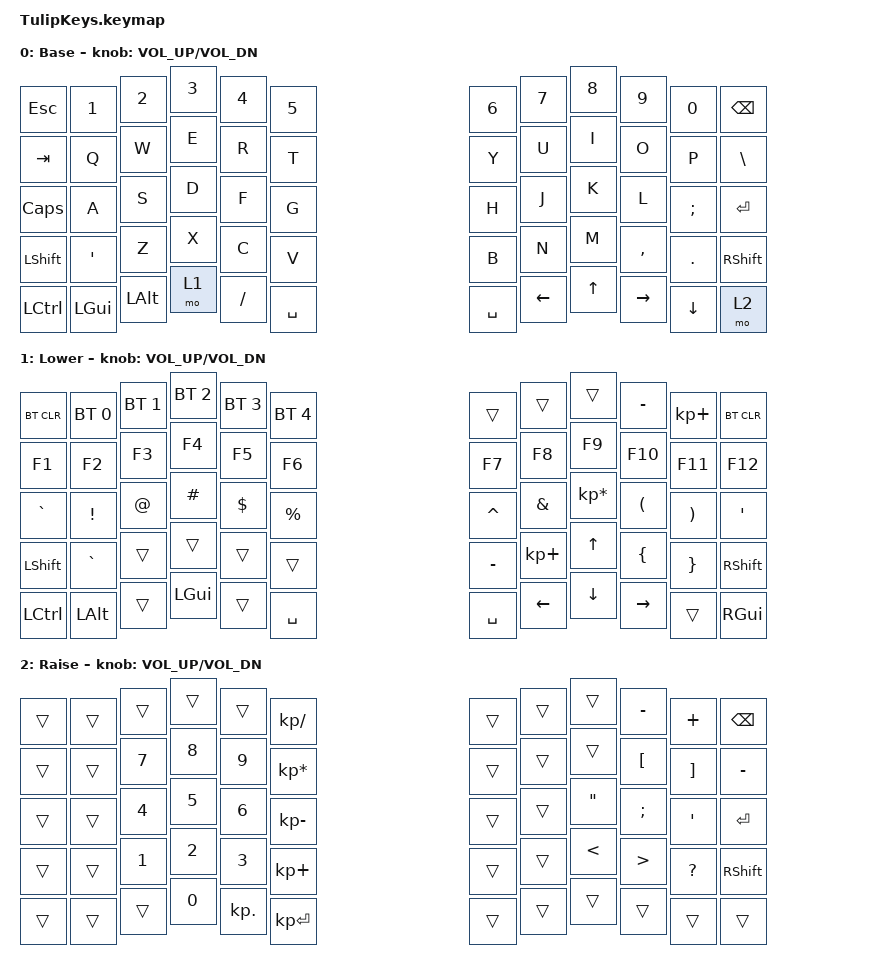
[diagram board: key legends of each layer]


#include <behaviors.dtsi>
#include <dt-bindings/zmk/keys.h>
#include <dt-bindings/zmk/bt.h>
#include <dt-bindings/zmk/ext_power.h>
#include <dt-bindings/zmk/outputs.h>

/ {
    keymap {
        compatible = "zmk,keymap";

        default_layer {
// ------------------------------------------------------------------------------------------------------------
// |  ESC  |  1  |  2   |  3   |  4   |  5   |                           |  6   |  7    |  8    |   9   |   0   |  BSPC |
// |  TAB  |  Q  |  W   |  E   |  R   |  T   |                           |  Y   |  U    |  I    |   O   |   P   |   \   |
// |  CAPS |  A  |  S   |  D   |  F   |  G   |                           |  H   |  J    |  K    |   L   |  ;    |  ENT  |   
// | SHIFT |  '  |  Z   |  X   |  C   |  V   |                           |  B   |  N    |  M    |   ,   |  .    | SHIFT |
// | CTRL  | GUI | LALT | L1   |  /   | SPC  |                           | SPC  | LARW  |  UARW | RARW  | DARW  | L2    |

            display-name = "Base";
            bindings = <
&kp ESC   &kp N1    &kp N2    &kp N3     &kp N4     &kp N5              &kp N6     &kp N7   &kp N8     &kp N9    &kp N0     &kp BSPC
&kp TAB   &kp Q     &kp W     &kp E      &kp R      &kp T               &kp Y      &kp U    &kp I      &kp O     &kp P      &kp BSLH
&kp CAPS  &kp A     &kp S     &kp D      &kp F      &kp G               &kp H      &kp J    &kp K      &kp L     &kp SEMI   &kp ENTER
&kp LSHFT &kp SQT   &kp Z     &kp X      &kp C      &kp V               &kp B      &kp N    &kp M      &kp COMMA &kp DOT    &kp RSHFT
&kp LCTRL &kp LGUI  &kp LALT  &mo 1      &kp FSLH   &kp SPACE           &kp SPACE  &kp LEFT &kp UP     &kp RIGHT &kp DOWN   &mo 2
            >; 

            sensor-bindings = <&inc_dec_kp C_VOL_UP C_VOL_DN>;
        };

        lower_layer {
// ------------------------------------------------------------------------------------------------------------
// | BTCLR | BT1 | BT2 |  BT3 |  BT4 |  BT5 |                   | prv  | USB   |  BLE  |  -   |   =   | BTCLR |
// |  F1   |  F2 |  F3 |  F4  |  F5  |  F6  |                   |  F7  |  F8   |  F9   |  F10 |  F11  |  F12  |
// |   `   |  !  |  @  |  #   | DOLL |  %   |                   |  ^   |  &    |  *    |  (   |   )   |   '   |
// | LSHFT |  `  |     |      |      |      |                   |  -   |   +   | UARW  |  {   |   }   | RSHFT |
// | CTRL  | GUI |(LYR)|  ALT |      | SPC  |                   |  SPC | LARW  | DARW  | RARW |       |  L2 |       
            display-name = "Lower";
            bindings = <
&bt BT_CLR &bt BT_SEL 0 &bt BT_SEL 1 &bt BT_SEL 2 &bt BT_SEL 3 &bt BT_SEL 4                 &trans   &trans    &trans    &kp MINUS  &kp KP_PLUS  &bt BT_CLR
&kp F1     &kp F2       &kp F3       &kp F4       &kp F5       &kp F6                       &kp F7       &kp F8       &kp F9          &kp F10    &kp F11   &kp F12
&kp GRAVE  &kp EXCL     &kp AT       &kp HASH     &kp DOLLAR   &kp PRCNT                    &kp CARET    &kp AMPS     &kp KP_MULTIPLY &kp LPAR   &kp RPAR  &kp SQT
&kp LSHFT  &kp GRAVE    &trans       &trans       &trans       &trans                       &kp MINUS    &kp KP_PLUS  &kp UP          &kp LBRC   &kp RBRC  &kp RSHFT
&kp LCTRL  &kp LALT     &trans       &kp LGUI     &trans       &kp SPACE                    &kp SPACE    &kp LEFT     &kp DOWN        &kp RIGHT  &trans    &kp RGUI
            >;

            sensor-bindings = <&inc_dec_kp C_VOL_UP C_VOL_DN>;
        };

        raise_layer {
// ------------------------------------------------------------------------------------------------------------
// |       |     |     |      |      |   /  |                   |      |       |        |  -   |   +  |  BSPC  |
// |       |     |  7  |  8   |  9   |   *  |                   |      |       |        |  [   |   ]  |   -    |
// |       |     |  4  |  5   |  6   |   -  |                   |      |       |   "    |  ;   |  '   |  ENT   |
// |       |     |  1  |  2   |  3   |   +  |                   |      |       |   <    |  >   |   ?  |  RSHFT |
// |       |     |     |  0   |  .   |   =  |                   |      |       |        |      |      |        |
                display-name = "Raise";
            bindings = <
&trans  &trans &trans    &trans     &trans     &kp KP_DIVIDE             &trans      &trans      &trans      &kp MINUS   &kp PLUS    &kp BSPC
&trans  &trans &kp N7    &kp N8     &kp N9     &kp KP_MULTIPLY           &trans      &trans      &trans      &kp LBKT    &kp RBKT    &kp MINUS
&trans  &trans &kp N4    &kp N5     &kp N6     &kp KP_MINUS              &trans      &trans      &kp DQT     &kp SEMI    &kp SQT     &kp ENTER
&trans  &trans &kp N1    &kp N2     &kp N3     &kp KP_PLUS               &trans      &trans      &kp LT      &kp GT      &kp QMARK   &kp RSHFT
&trans  &trans &trans    &kp N0     &kp KP_DOT &kp KP_ENTER              &trans      &trans      &trans      &trans      &trans      &trans
            >;
            sensor-bindings = <&inc_dec_kp C_VOL_UP C_VOL_DN>;
        };

        extra_1 {
            status = "reserved";
        };

        extra_2 {
            status = "reserved";
        };

        extra_3 {
            status = "reserved";
        };
    };
};
